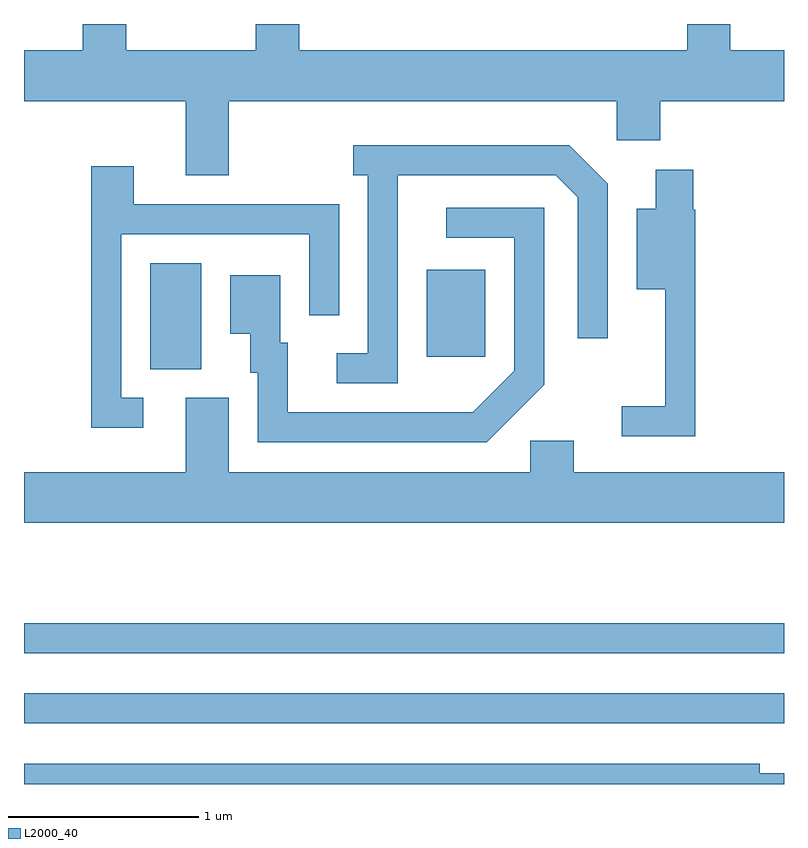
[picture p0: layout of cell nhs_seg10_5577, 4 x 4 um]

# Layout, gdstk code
import gdstk
lib = gdstk.Library(unit=1e-6, precision=1e-09)
def R(c, l, rs):  # rectangles x0, y0, x1, y1
    for r in rs: c.add(gdstk.rectangle(r[:2], r[2:], *l))
def P(c, l, *ps):  # polygons
    for p in ps: c.add(gdstk.Polygon(p, *l))
L2000_40 = (2000, 40)

nhs_seg10_5577 = lib.new_cell('nhs_seg10_5577')
R(nhs_seg10_5577, L2000_40, [(349.611,2132.841,353.611,2132.999), (349.611,2133.211,353.611,2133.369), (350.276,2134.706,350.544,2135.264), (351.731,2134.771,352.039,2135.229)])
P(nhs_seg10_5577, L2000_40, [(350.689,2136.116),(352.731,2136.116),(352.731,2135.911),(352.959,2135.911),(352.959,2136.116),(353.611,2136.116),(353.611,2136.384),(353.329,2136.384),(353.329,2136.522),(353.101,2136.522),(353.101,2136.384),(351.059,2136.384),(351.059,2136.522),(350.831,2136.522),(350.831,2136.384),(350.149,2136.384),(350.149,2136.522),(349.921,2136.522),(349.921,2136.384),(349.611,2136.384),(349.611,2136.116),(350.461,2136.116),(350.461,2135.726),(350.689,2135.726)],
  [(351.579,2135.726),(352.409,2135.726),(352.526,2135.609),(352.526,2134.868),(352.684,2134.868),(352.684,2135.682),(352.482,2135.884),(351.343,2135.884),(351.343,2135.726),(351.421,2135.726),(351.421,2134.789),(351.258,2134.789),(351.258,2134.631),(351.579,2134.631)],
  [(350.238,2134.554),(350.124,2134.554),(350.124,2135.416),(351.111,2135.416),(351.111,2134.988),(351.269,2134.988),(351.269,2135.574),(350.189,2135.574),(350.189,2135.774),(349.966,2135.774),(349.966,2134.396),(350.238,2134.396)],
  [(353.144,2135.545),(353.134,2135.545),(353.134,2135.754),(352.936,2135.754),(352.936,2135.549),(352.836,2135.549),(352.836,2135.126),(352.986,2135.126),(352.986,2134.509),(352.758,2134.509),(352.758,2134.351),(353.144,2134.351)],
  [(352.349,2134.624),(352.349,2135.554),(351.833,2135.554),(351.833,2135.396),(352.191,2135.396),(352.191,2134.697),(351.974,2134.479),(350.999,2134.479),(350.999,2134.844),(350.959,2134.844),(350.959,2135.199),(350.696,2135.199),(350.696,2134.891),(350.801,2134.891),(350.801,2134.686),(350.841,2134.686),(350.841,2134.321),(352.047,2134.321)],
  [(353.611,2134.164),(352.504,2134.164),(352.504,2134.329),(352.276,2134.329),(352.276,2134.164),(350.689,2134.164),(350.689,2134.554),(350.461,2134.554),(350.461,2134.164),(349.611,2134.164),(349.611,2133.896),(353.611,2133.896)],
  [(353.611,2132.579),(353.484,2132.579),(353.484,2132.629),(349.611,2132.629),(349.611,2132.522),(353.611,2132.522)])

lib.write_gds('nhs_seg10_5577.gds')
